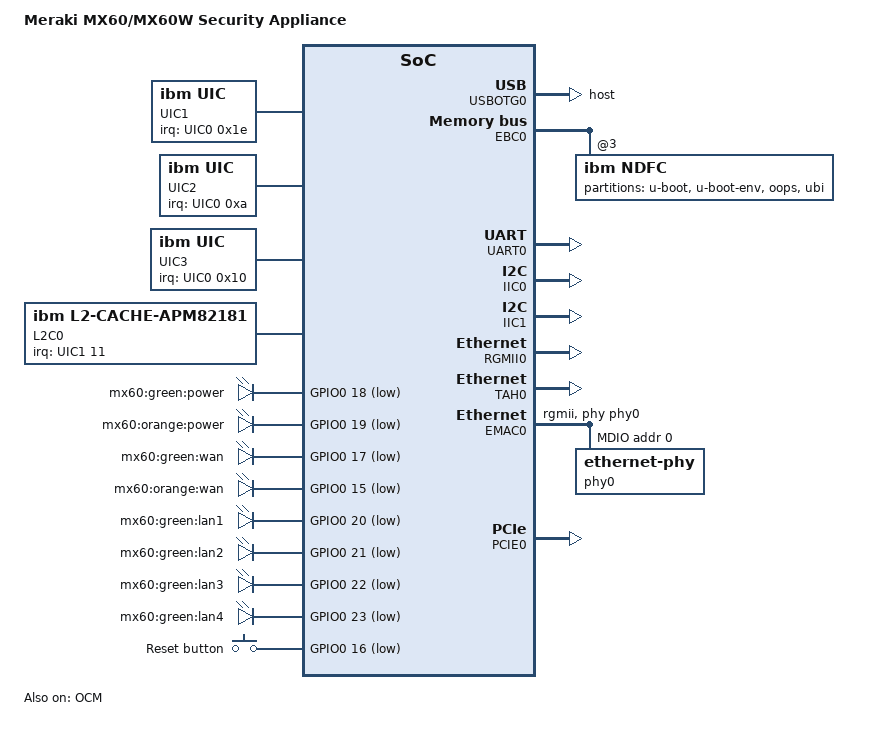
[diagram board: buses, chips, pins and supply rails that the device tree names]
/*
 * Device Tree Source for Meraki MX60 (Buckminster)
 *
 * Copyright (C) 2016 Chris Blake <chrisrblake93@gmail.com>
 *
 * Based on Cisco Meraki DTS from wired-12-217818
 *
 * This file is licensed under the terms of the GNU General Public
 * License version 2.  This program is licensed "as is" without
 * any warranty of any kind, whether express or implied.
 */

/dts-v1/;

/ {
	#address-cells = <2>;
	#size-cells = <1>;
	model = "Meraki MX60/MX60W Security Appliance";
	compatible = "meraki,buckminster";
	dcr-parent = <&{/cpus/cpu@0}>;

	aliases {
		ethernet0 = &EMAC0;
		serial0 = &UART0;
	};

	cpus {
		#address-cells = <1>;
		#size-cells = <0>;

		cpu@0 {
			device_type = "cpu";
			model = "PowerPC,apm821xx";
			reg = <0x00000000>;
			clock-frequency = <0>; /* Filled in by U-Boot */
			timebase-frequency = <0>; /* Filled in by U-Boot */
			i-cache-line-size = <32>;
			d-cache-line-size = <32>;
			i-cache-size = <32768>;
			d-cache-size = <32768>;
			dcr-controller;
			dcr-access-method = "native";
			next-level-cache = <&L2C0>;
		};
	};

	memory {
		device_type = "memory";
		reg = <0x00000000 0x00000000 0x00000000>; /* Filled in by U-Boot */
	};

	UIC0: interrupt-controller0 {
		compatible = "ibm,uic";
		interrupt-controller;
		cell-index = <0>;
		dcr-reg = <0x0c0 0x009>;
		#address-cells = <0>;
		#size-cells = <0>;
		#interrupt-cells = <2>;
	};

	UIC1: interrupt-controller1 {
		compatible = "ibm,uic";
		interrupt-controller;
		cell-index = <1>;
		dcr-reg = <0x0d0 0x009>;
		#address-cells = <0>;
		#size-cells = <0>;
		#interrupt-cells = <2>;
		interrupts = <0x1e 0x4 0x1f 0x4>; /* cascade */
		interrupt-parent = <&UIC0>;
	};

	UIC2: interrupt-controller2 {
		compatible = "ibm,uic";
		interrupt-controller;
		cell-index = <2>;
		dcr-reg = <0x0e0 0x009>;
		#address-cells = <0>;
		#size-cells = <0>;
		#interrupt-cells = <2>;
		interrupts = <0xa 0x4 0xb 0x4>; /* cascade */
		interrupt-parent = <&UIC0>;
	};

	UIC3: interrupt-controller3 {
		compatible = "ibm,uic";
		interrupt-controller;
		cell-index = <3>;
		dcr-reg = <0x0f0 0x009>;
		#address-cells = <0>;
		#size-cells = <0>;
		#interrupt-cells = <2>;
		interrupts = <0x10 0x4 0x11 0x4>; /* cascade */
		interrupt-parent = <&UIC0>;
	};

	/* KPH check the following */
	OCM: ocm@400040000 {
		compatible = "ibm,ocm";
		status = "okay";
		cell-index = <1>;
		/* configured in U-Boot */
		reg = <4 0x00040000 0x8000>; /* 32K */
	};

	SDR0: sdr {
		compatible = "ibm,sdr-apm821xx";
		dcr-reg = <0x00e 0x002>;
	};

	CPR0: cpr {
		compatible = "ibm,cpr-apm821xx";
		dcr-reg = <0x00c 0x002>;
	};

	L2C0: l2c {
		compatible = "ibm,l2-cache-apm82181", "ibm,l2-cache";
		dcr-reg = <0x020 0x008
			   0x030 0x008>;
		cache-line-size = <32>;
		cache-size = <262144>;
		interrupt-parent = <&UIC1>;
		interrupts = <11 1>;
	};

	/* kph check the below */
	CPM0: cpm {
		compatible = "ibm,cpm-apm821xx", "ibm,cpm";
		cell-index = <0>;
		dcr-reg = <0x160 0x003>;
		pm-cpu = <0x02000000>;
		pm-doze = <0x302570F0>;
		pm-nap = <0x302570F0>;
		pm-deepsleep = <0x302570F0>;
		pm-iic-device = <&IIC0>;
		pm-emac-device = <&EMAC0>;
	};

	plb {
		compatible = "ibm,plb-460ex", "ibm,plb4";
		#address-cells = <2>;
		#size-cells = <1>;
		ranges;
		clock-frequency = <0>; /* Filled in by U-Boot */

		SDRAM0: sdram {
			compatible = "ibm,sdram-460ex", "ibm,sdram-405gp";
			dcr-reg = <0x010 0x002>;
		};

		/* kph check the below */
		CRYPTO: crypto@180000 {
			compatible = "amcc,ppc460ex-crypto", "amcc,ppc4xx-crypto";
			reg = <4 0x00180000 0x80400>;
			interrupt-parent = <&UIC0>;
			interrupts = <0x1d 0x4>;
		};

		/* kph check the below */
		PKA: pka@114000 {
			device_type = "pka";
			compatible = "ppc4xx-pka", "amcc,ppc4xx-pka";
			reg = <4 0x00114000 0x4000>;
			interrupt-parent = <&UIC0>;
			interrupts = <0x14 0x2>;
		};

		/* kph check the below */
		TRNG: trng@110000 {
			compatible = "ppc4xx-trng", "amcc,ppc460ex-rng";
			reg = <4 0x00110000 0x50>;
			interrupt-parent = <&UIC1>;
			interrupts = <0x3 0x2>;
		};

		MAL0: mcmal {
			compatible = "ibm,mcmal-460ex", "ibm,mcmal2";
			descriptor-memory = "ocm";
			dcr-reg = <0x180 0x062>;
			num-tx-chans = <1>;
			num-rx-chans = <1>;
			#address-cells = <0>;
			#size-cells = <0>;
			interrupt-parent = <&UIC2>;
			interrupts = <	/*TXEOB*/ 0x6 0x4
					/*RXEOB*/ 0x7 0x4
					/*SERR*/  0x3 0x4
					/*TXDE*/  0x4 0x4
					/*RXDE*/  0x5 0x4
					/*TX0 COAL*/  0x8 0x2
					/*RX0 COAL*/  0xc 0x2>;
		};

		AHBDMA: dma@bffd0800 {
			compatible = "snps,dma-spear1340";
			reg = <4 0xbffd0800 0x400>;
			interrupt-parent = <&UIC0>;
			interrupts = <25 4>;
			#dma-cells = <3>;
			/* use autoconfiguration for the dma setup */
        };

		USBOTG0: usbotg@bff80000 {
			compatible = "meraki,buckminster-usb";
			reg = <0x4 0xbff80000 0x10000>;
			interrupt-parent = <&USBOTG0>;
			interrupts = <0 1 2>;
			#interrupt-cells = <1>;
			#address-cells = <0>;
			#size-cells = <0>;
			interrupt-map = </* USB-OTG */		0 &UIC2 0x1c 4
					 /* HIGH-POWER */	1 &UIC1 0x1a 8
					 /* DMA */		2 &UIC0 0xc 4>;
			dr_mode = "host";
		};

		ADMA: adma {
			compatible = "amcc,apm82181-adma";
			device_type = "dma";
			#address-cells = <2>;
			#size-cells = <1>;

			dma-4channel@1 {
				compatible = "amcc,apm82181-dma-4channel";
				cell-index = <1>;
				label = "plb_dma1";
				interrupt-parent = <&UIC0>;
				interrupts = <0xd 0x4>;
				pool_size = <0x4000>;
				dcr-reg = <0x208 0x20f>;
			};

			dma-4channel@2 {
				compatible = "amcc,apm82181-dma-4channel";
				cell-index = <2>;
				label = "plb_dma2";
				interrupt-parent = <&UIC0>;
				interrupts = <0xe 0x4>;
				pool_size = <0x4000>;
				dcr-reg = <0x210 0x217>;
			};

			dma-4channel@3 {
				compatible = "amcc,apm82181-dma-4channel";
				cell-index = <3>;
				label = "plb_dma3";
				interrupt-parent = <&UIC0>;
				interrupts = <0xf 0x4>;
				pool_size = <0x4000>;
				dcr-reg = <0x218 0x21f>;
			};

			xor@4 {
				compatible = "amcc,xor";
				cell-index = <4>;
				label = "xor";
				interrupt-parent = <&UIC1>;
				interrupts = <0x16 0x4>;
				reg = <0x00000004 0x00200000 0x00000224>;
			};
		};

		POB0: opb {
			compatible = "ibm,opb";
			#address-cells = <1>;
			#size-cells = <1>;
			ranges = <0xb0000000 0x00000004 0xb0000000 0x50000000>;
			clock-frequency = <0>; /* Filled in by U-Boot */

			EBC0: ebc {
				compatible = "ibm,ebc";
				dcr-reg = <0x012 0x002>;
				#address-cells = <2>;
				#size-cells = <1>;
				clock-frequency = <0>; /* Filled in by U-Boot */
				/* ranges property is supplied by U-Boot */
				ranges = < 0x00000003 0x00000000 0xe0000000 0x8000000>;
				interrupts = <0x6 0x4>;
				interrupt-parent = <&UIC1>;

				/* Buckminster has 1GiB of NAND */
				ndfc@1,0 {
					compatible = "ibm,ndfc";
					reg = <00000003 00000000 00000400>;
					ccr = <0x00001000>;
					bank-settings = <0x80002222>;
					#address-cells = <1>;
					#size-cells = <1>;
					nand {
						#address-cells = <1>;
						#size-cells = <1>;

						partition@0 {
							label = "u-boot";
							reg = <0x00000000 0x00100000>;
							read-only;
						};

						partition@100000 {
							label = "u-boot-env";
							reg = <0x00100000 0x00100000>;
							read-only;
						};

						partition@200000 {
							label = "oops";
							reg = <0x00200000 0x00040000>;
						};

						partition@240000 {
							label = "ubi";
							reg = <0x00240000 0x3fdc0000>;
						};

						all {
							label = "all";
							reg = <0x00000000 0x40000000>;
						};
					};
				};
			};

			UART0: serial@ef600400 {
				device_type = "serial";
				compatible = "ns16550";
				reg = <0xef600400 0x00000008>;
				virtual-reg = <0xef600400>;
				clock-frequency = <0>; /* Filled in by U-Boot */
				current-speed = <0>; /* Filled in by U-Boot */
				interrupt-parent = <&UIC0>;
				interrupts = <0x1 0x4>;
			};

			GPIO0: gpio@ef600b00 {
				compatible = "ibm,ppc4xx-gpio";
				reg = <0xef600b00 0x00000048>;
				#gpio-cells = <2>;
				gpio-controller;
			};

			gpio-leds {
				compatible = "gpio-leds";

				power-green {
					label = "mx60:green:power";
					gpios = <&GPIO0 18 1>;
				};

				power-orange {
					label = "mx60:orange:power";
					gpios = <&GPIO0 19 1>;
				};

				wan-green {
					label = "mx60:green:wan";
					gpios = <&GPIO0 17 1>;
				};

				wan-orange {
					label = "mx60:orange:wan";
					gpios = <&GPIO0 15 1>;
				};

				lan1 {
					label = "mx60:green:lan1";
					gpios = <&GPIO0 20 1>;
				};

				lan2 {
					label = "mx60:green:lan2";
					gpios = <&GPIO0 21 1>;
				};

				lan3 {
					label = "mx60:green:lan3";
					gpios = <&GPIO0 22 1>;
				};

				lan4 {
					label = "mx60:green:lan4";
					gpios = <&GPIO0 23 1>;
				};
			};

			gpio_keys_polled {
				compatible = "gpio-keys-polled";
				#address-cells = <1>;
				#size-cells = <0>;
				poll-interval = <60>;	/* 3 * 20 = 60ms */
				autorepeat;
				button@1 {
					label = "Reset button";
					linux,code = <0x198>; /* KEY_RESTART */
					gpios = <&GPIO0 16 1>;
				};
			};

			IIC0: i2c@ef600700 {
				compatible = "ibm,iic";
				reg = <0xef600700 0x00000014>;
				interrupt-parent = <&UIC0>;
				interrupts = <0x2 0x4>;
				#address-cells = <1>;
				#size-cells = <0>;

				/* This does not work on the MX60 */
				/*
				sttm@4C {
					compatible = "adm,adm1032";
					reg = <0x4c>;
					interrupt-parent = <0x4>;
					interrupts = <0x1e 0x8>;
				};
				*/
			};

			IIC1: i2c@ef600800 {
				compatible = "ibm,iic";
				reg = <0xef600800 0x00000014>;
				interrupt-parent = <&UIC0>;
				interrupts = <0x3 0x4>;
			};

			RGMII0: emac-rgmii@ef601500 {
				compatible = "ibm,rgmii";
				reg = <0xef601500 0x00000008>;
				has-mdio;
			};

			TAH0: emac-tah@ef601350 {
				compatible = "ibm,tah";
				reg = <0xef601350 0x00000030>;
			};

			EMAC0: ethernet@ef600c00 {
				device_type = "network";
				compatible = "ibm,emac-apm821xx", "ibm,emac4sync";
				interrupt-parent = <&EMAC0>;
				interrupts = <0x0 0x1>;
				#interrupt-cells = <1>;
				#address-cells = <0>;
				#size-cells = <0>;
				interrupt-map = </*Status*/ 0x0 &UIC2 0x10 0x4
						 /*Wake*/   0x1 &UIC2 0x14 0x4>;
				reg = <0xef600c00 0x000000c4>;
				local-mac-address = [000000000000]; /* Filled in by U-Boot */
				mal-device = <&MAL0>;
				mal-tx-channel = <0>;
				mal-rx-channel = <0>;
				cell-index = <0>;
				max-frame-size = <9000>;
				rx-fifo-size = <16384>;
				tx-fifo-size = <2048>;
				fifo-entry-size = <10>;
				phy-mode = "rgmii";
				phy-handle = <&phy0>;
				phy-map = <0x00000000>;
				rgmii-device = <&RGMII0>;
				rgmii-channel = <0>;
				tah-device = <&TAH0>;
				tah-channel = <0>;
				has-inverted-stacr-oc;
				has-new-stacr-staopc;

				mdio {
					#address-cells = <1>;
					#size-cells = <0>;

					phy0: ethernet-phy@0 {
						device_type = "ethernet-phy";
						reg = <0>;
						qca,ar8327-initvals = <
							0x0010 0x40000000
							0x0624 0x007f7f7f
							0x0004 0x07a00000	/* PAD0_MODE */
							0x000c 0x01000000	/* PAD6_MODE */
							0x007c 0x0000007e	/* PORT0_STATUS */
						>;
					};
				};
			};
		};

		DMA: plb_dma@400300200 {
					#address-cells = <1>;
					#size-cells = <1>;
					compatible = "amcc,dma";
					cell-index = <0>;
					reg = <4 00300200 200>;
					dcr-reg = <0x100 0x13f>;
					interrupt-parent = <&UIC0>;
					interrupts = <0 1 2 3>;
					interrupt-map = < /* chan0 */ 0 &UIC0 12 4>;

					dma-4channel@0{
						compatible = "amcc,dma-4channel";
						cell-index = <0>;
						label = "channel0";
						reg = <0x100 0x107>;
					};
				};

		PCIE0: pciex@d00000000 {
			device_type = "pci";
			#interrupt-cells = <1>;
			#size-cells = <2>;
			#address-cells = <3>;
			compatible = "ibm,plb-pciex-apm821xx", "ibm,plb-pciex";
			primary;
			port = <0x0>; /* port number */
			reg = <0x0000000d 0x00000000 0x20000000	/* Config space access */
			       0x0000000c 0x08010000 0x00001000>;	/* Registers */
			dcr-reg = <0x100 0x020>;
			sdr-base = <0x300>;

			/* Outbound ranges, one memory and one IO,
			 * later cannot be changed
			 */
			ranges = <0x02000000 0x00000000 0x80000000 0x0000000e 0x00000000 0x00000000 0x80000000
				  0x02000000 0x00000000 0x00000000 0x0000000f 0x00000000 0x00000000 0x00100000
				  0x01000000 0x00000000 0x00000000 0x0000000f 0x80000000 0x00000000 0x00010000>;

			/* Inbound 2GB range starting at 0 */
			dma-ranges = <0x42000000 0x0 0x0 0x0 0x0 0x0 0x80000000>;

			/* This drives busses 40 to 0x7f */
			bus-range = <0x40 0x7f>;

			/* Legacy interrupts (note the weird polarity, the bridge seems
			 * to invert PCIe legacy interrupts).
			 * We are de-swizzling here because the numbers are actually for
			 * port of the root complex virtual P2P bridge. But I want
			 * to avoid putting a node for it in the tree, so the numbers
			 * below are basically de-swizzled numbers.
			 * The real slot is on idsel 0, so the swizzling is 1:1
			 */
			interrupt-map-mask = <0x0 0x0 0x0 0x7>;
			interrupt-map = <
				0x0 0x0 0x0 0x1 &UIC3 0xc 0x4 /* swizzled int A */
				0x0 0x0 0x0 0x2 &UIC3 0xd 0x4 /* swizzled int B */
				0x0 0x0 0x0 0x3 &UIC3 0xe 0x4 /* swizzled int C */
				0x0 0x0 0x0 0x4 &UIC3 0xf 0x4 /* swizzled int D */>;
		};
	};

	chosen {
			linux,stdout-path = "/plb/opb/serial@ef600400";
	};
};
